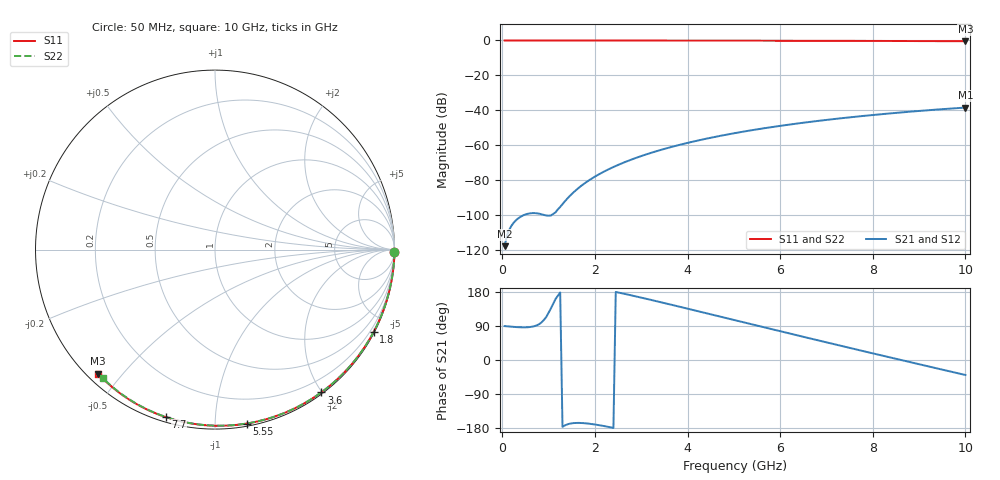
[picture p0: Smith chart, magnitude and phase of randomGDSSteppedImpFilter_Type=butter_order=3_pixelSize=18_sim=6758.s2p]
! freq	dB(S11)	phase(S11)	dB(S12)	phase(S12)
!  dB(S21)	phase(S21)	dB(S22)	phase(S22)
!S-par simulation data
#  GHz  S  DB  R 50
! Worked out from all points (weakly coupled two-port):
!   200 points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, 50 MHz to 10 GHz, reference 50 ohm
!   highest |S21| = -38.48 dB at 10 GHz (marker M1); lowest = -118.0 dB at 50 MHz (marker M2)
!   lowest |S11| = -0.4 dB at 10 GHz (marker M3), VSWR 39.11, Z = 1.52 - j21.6 ohm
!   |S11| at or under -10 dB: nowhere
!   |S22| runs from -0.4 to 0.0 dB; largest |S21 - S12| = 0
!   S11 on the Smith chart (normalised r, x): 50 MHz: open; 1.8 GHz: 0.04, -4.12; 3.6 GHz: 0.02, -1.99; 5.55 GHz: 0.02, -1.20; 7.7 GHz: 0.02, -0.75; 10 GHz: 0.03, -0.43
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0.05  -0.00 -0.8  -117.96 89.4  -117.96 89.4  -0.00 -0.8
0.9  -0.02 -13.8  -100.07 106.0  -100.07 106.0  -0.02 -13.6
1.75  -0.03 -26.5  -82.46 -166.6  -82.46 -166.6  -0.03 -26.1
1.8  -0.03 -27.3  -81.50 -167.1  -81.50 -167.1  -0.03 -26.9
1.85  -0.04 -28.0  -80.59 -167.7  -80.59 -167.7  -0.04 -27.6
1.9  -0.04 -28.8  -79.72 -168.5  -79.72 -168.5  -0.04 -28.3
2.05  -0.04 -31.0  -77.30 -171.2  -77.30 -171.2  -0.04 -30.5
2.25  -0.04 -33.9  -74.46 -175.6  -74.46 -175.6  -0.04 -33.4
2.45  -0.05 -36.9  -71.96 179.5  -71.96 179.5  -0.05 -36.3
2.65  -0.05 -39.8  -69.72 174.3  -69.72 174.3  -0.05 -39.2
3  -0.06 -44.8  -66.29 164.6  -66.29 164.6  -0.06 -44.1
3.4  -0.07 -50.5  -62.94 153.2  -62.94 153.2  -0.07 -49.7
3.6  -0.07 -53.3  -61.44 147.3  -61.44 147.3  -0.07 -52.5
4.3  -0.09 -63.0  -56.92 126.6  -56.92 126.6  -0.09 -62.1
5.05  -0.11 -73.1  -53.00 104.2  -53.00 104.2  -0.11 -72.0
5.55  -0.13 -79.7  -50.77 89.3  -50.77 89.3  -0.13 -78.5
6.1  -0.15 -86.7  -48.60 73.0  -48.60 73.0  -0.15 -85.4
6.7  -0.18 -94.2  -46.51 55.3  -46.51 55.3  -0.18 -92.8
7.7  -0.24 -106.4  -43.54 26.2  -43.54 26.2  -0.24 -104.8
8.35  -0.29 -114.1  -41.88 7.4  -41.88 7.4  -0.29 -112.4
9.15  -0.36 -123.5  -40.10 -15.4  -40.10 -15.4  -0.36 -121.5
10  -0.44 -133.3  -38.48 -39.6  -38.48 -39.6  -0.44 -131.1
